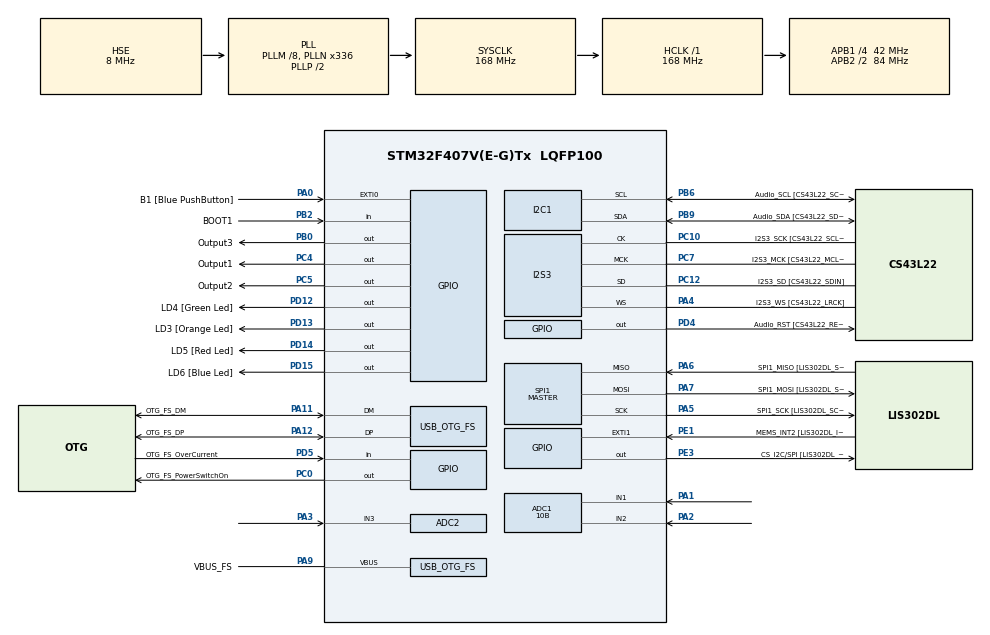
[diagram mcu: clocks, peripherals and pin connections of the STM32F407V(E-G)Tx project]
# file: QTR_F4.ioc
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ADC1.Channel-0\#ChannelRegularConversion=ADC_CHANNEL_1
ADC1.Channel-1\#ChannelRegularConversion=ADC_CHANNEL_2
ADC1.ContinuousConvMode=ENABLE
ADC1.EnableAnalogWatchDog=false
ADC1.NbrOfConversion=2
ADC1.NbrOfConversionFlag=1
ADC1.Rank-0\#ChannelRegularConversion=1
ADC1.Rank-1\#ChannelRegularConversion=2
ADC1.Resolution=ADC_RESOLUTION_10B
ADC1.SamplingTime-0\#ChannelRegularConversion=ADC_SAMPLETIME_56CYCLES
ADC1.SamplingTime-1\#ChannelRegularConversion=ADC_SAMPLETIME_56CYCLES
ADC1.master=1
ADC2.Channel-3\#ChannelRegularConversion=ADC_CHANNEL_3
ADC2.ContinuousConvMode=ENABLE
ADC2.NbrOfConversion=1
ADC2.NbrOfConversionFlag=1
ADC2.Rank-3\#ChannelRegularConversion=1
ADC2.Resolution=ADC_RESOLUTION_10B
ADC2.SamplingTime-3\#ChannelRegularConversion=ADC_SAMPLETIME_56CYCLES
Dma.ADC1.0.Direction=DMA_PERIPH_TO_MEMORY
Dma.ADC1.0.FIFOMode=DMA_FIFOMODE_DISABLE
Dma.ADC1.0.Instance=DMA2_Stream0
Dma.ADC1.0.MemDataAlignment=DMA_MDATAALIGN_HALFWORD
Dma.ADC1.0.MemInc=DMA_MINC_ENABLE
Dma.ADC1.0.Mode=DMA_CIRCULAR
Dma.ADC1.0.PeriphDataAlignment=DMA_PDATAALIGN_HALFWORD
Dma.ADC1.0.PeriphInc=DMA_PINC_DISABLE
Dma.ADC1.0.Priority=DMA_PRIORITY_VERY_HIGH
Dma.ADC2.1.Direction=DMA_PERIPH_TO_MEMORY
Dma.ADC2.1.FIFOMode=DMA_FIFOMODE_DISABLE
Dma.ADC2.1.Instance=DMA2_Stream2
Dma.ADC2.1.MemDataAlignment=DMA_MDATAALIGN_HALFWORD
Dma.ADC2.1.MemInc=DMA_MINC_ENABLE
Dma.ADC2.1.Mode=DMA_CIRCULAR
Dma.ADC2.1.PeriphDataAlignment=DMA_PDATAALIGN_HALFWORD
Dma.ADC2.1.PeriphInc=DMA_PINC_DISABLE
Dma.ADC2.1.Priority=DMA_PRIORITY_VERY_HIGH
Dma.Request0=ADC1
Dma.Request1=ADC2
I2S3.AudioFreq-Half_Duplex_Master=I2S_AUDIOFREQ_96K
I2S3.ErrorAudioFreq=-2.34 %
I2S3.ErrorAudioFreq-Half_Duplex_Master=0.8 %
I2S3.FullDuplexMode=I2S_FULLDUPLEXMODE_DISABLE
I2S3.Instance=SPI$Index
I2S3.RealAudioFreq=93.75 KHz
I2S3.RealAudioFreq-Half_Duplex_Master=96.774 KHz
I2S3.VirtualMode=I2S_MODE_MASTER
Mcu.Family=STM32F4
Mcu.Name=STM32F407V(E-G)Tx
Mcu.Package=LQFP100
NVIC.ADC_IRQn=true\:0\:0\:false\:false\:true\:true\:true\:true
NVIC.DMA2_Stream0_IRQn=true\:0\:0\:false\:false\:true\:false\:true\:true
NVIC.DMA2_Stream2_IRQn=true\:0\:0\:false\:false\:true\:false\:true\:true
NVIC.OTG_FS_IRQn=true\:0\:0\:false\:false\:true\:true\:true\:true
NVIC.PriorityGroup=NVIC_PRIORITYGROUP_0
PA0-WKUP.GPIO_Label=B1 [Blue PushButton]
PA0-WKUP.GPIO_ModeDefaultEXTI=GPIO_MODE_EVT_RISING
PA0-WKUP.GPIO_PuPd=GPIO_NOPULL
PA0-WKUP.Signal=GPXTI0
PA1.Signal=ADCx_IN1
PA10.GPIO_Label=OTG_FS_ID
PA10.GPIO_Mode=GPIO_MODE_AF_PP
PA10.GPIO_PuPd=GPIO_NOPULL
PA10.GPIO_Speed=GPIO_SPEED_FREQ_LOW
PA10.Signal=USB_OTG_FS_ID
PA11.GPIO_Label=OTG_FS_DM
PA11.GPIO_Mode=GPIO_MODE_AF_PP
PA11.GPIO_PuPd=GPIO_NOPULL
PA11.GPIO_Speed=GPIO_SPEED_FREQ_LOW
PA11.Mode=Host_Only
PA11.Signal=USB_OTG_FS_DM
PA12.GPIO_Label=OTG_FS_DP
PA12.GPIO_Mode=GPIO_MODE_AF_PP
PA12.GPIO_PuPd=GPIO_NOPULL
PA12.GPIO_Speed=GPIO_SPEED_FREQ_LOW
PA12.Mode=Host_Only
PA12.Signal=USB_OTG_FS_DP
PA13.GPIO_Label=SWDIO
PA13.Mode=Serial_Wire
PA13.Signal=SYS_JTMS-SWDIO
PA14.GPIO_Label=SWCLK
PA14.Mode=Serial_Wire
PA14.Signal=SYS_JTCK-SWCLK
PA2.Signal=ADCx_IN2
PA3.Signal=ADCx_IN3
PA4.GPIO_Label=I2S3_WS [CS43L22_LRCK]
PA4.GPIO_Mode=GPIO_MODE_AF_PP
PA4.GPIO_PuPd=GPIO_NOPULL
PA4.GPIO_Speed=GPIO_SPEED_FREQ_LOW
PA4.Mode=Half_Duplex_Master
PA4.Signal=I2S3_WS
PA5.GPIO_Label=SPI1_SCK [LIS302DL_SCL/SPC]
PA5.GPIO_Mode=GPIO_MODE_AF_PP
PA5.GPIO_PuPd=GPIO_NOPULL
PA5.GPIO_Speed=GPIO_SPEED_FREQ_LOW
PA5.Mode=Full_Duplex_Master
PA5.Signal=SPI1_SCK
PA6.GPIO_Label=SPI1_MISO [LIS302DL_SDO]
PA6.GPIO_Mode=GPIO_MODE_AF_PP
PA6.GPIO_PuPd=GPIO_NOPULL
PA6.GPIO_Speed=GPIO_SPEED_FREQ_LOW
PA6.Mode=Full_Duplex_Master
PA6.Signal=SPI1_MISO
PA7.GPIO_Label=SPI1_MOSI [LIS302DL_SDA/SDI/SDO]
PA7.GPIO_Mode=GPIO_MODE_AF_PP
PA7.GPIO_PuPd=GPIO_NOPULL
PA7.GPIO_Speed=GPIO_SPEED_FREQ_LOW
PA7.Mode=Full_Duplex_Master
PA7.Signal=SPI1_MOSI
PA9.GPIO_Label=VBUS_FS
PA9.GPIO_Mode=GPIO_MODE_INPUT
PA9.GPIO_PuPd=GPIO_NOPULL
PA9.Mode=Activate_VBUS
PA9.Signal=USB_OTG_FS_VBUS
PB0.GPIO_Label=Output3
PB0.Signal=GPIO_Output
PB10.GPIO_Label=CLK_IN [MP45DT02_CLK]
PB10.GPIO_Mode=GPIO_MODE_AF_PP
PB10.GPIO_PuPd=GPIO_NOPULL
PB10.GPIO_Speed=GPIO_SPEED_FREQ_LOW
PB10.Signal=I2S2_CK
PB2.GPIO_Label=BOOT1
PB2.GPIO_Mode=GPIO_MODE_INPUT
PB2.GPIO_PuPd=GPIO_NOPULL
PB2.Signal=GPIO_Input
PB3.GPIO_Label=SWO
PB3.Signal=SYS_JTDO-SWO
PB6.GPIO_Label=Audio_SCL [CS43L22_SCL]
PB6.GPIO_Mode=GPIO_MODE_AF_OD
PB6.GPIO_Pu=GPIO_PULLUP
PB6.GPIO_PuPd=GPIO_NOPULL
PB6.GPIO_Speed=GPIO_SPEED_FREQ_LOW
PB6.Mode=I2C
PB6.Signal=I2C1_SCL
PB9.GPIO_Label=Audio_SDA [CS43L22_SDA]
PB9.GPIO_Mode=GPIO_MODE_AF_OD
PB9.GPIO_Pu=GPIO_PULLUP
PB9.GPIO_PuPd=GPIO_NOPULL
PB9.GPIO_Speed=GPIO_SPEED_FREQ_LOW
PB9.Mode=I2C
PB9.Signal=I2C1_SDA
PC0.GPIO_Label=OTG_FS_PowerSwitchOn
PC0.GPIO_PuPd=GPIO_NOPULL
PC0.GPIO_Speed=GPIO_SPEED_FREQ_LOW
PC0.PinState=GPIO_PIN_SET
PC0.Signal=GPIO_Output
PC10.GPIO_Label=I2S3_SCK [CS43L22_SCLK]
PC10.GPIO_Mode=GPIO_MODE_AF_PP
PC10.GPIO_PuPd=GPIO_NOPULL
PC10.GPIO_Speed=GPIO_SPEED_FREQ_LOW
PC10.Mode=Half_Duplex_Master
PC10.Signal=I2S3_CK
PC12.GPIO_Label=I2S3_SD [CS43L22_SDIN]
PC12.GPIO_Mode=GPIO_MODE_AF_PP
PC12.GPIO_PuPd=GPIO_NOPULL
PC12.GPIO_Speed=GPIO_SPEED_FREQ_LOW
PC12.Mode=Half_Duplex_Master
PC12.Signal=I2S3_SD
PC14-OSC32_IN.GPIO_Label=PC14-OSC32_IN
PC14-OSC32_IN.Mode=LSE-External-Oscillator
PC14-OSC32_IN.Signal=RCC_OSC32_IN
PC15-OSC32_OUT.GPIO_Label=PC15-OSC32_OUT
PC15-OSC32_OUT.Mode=LSE-External-Oscillator
PC15-OSC32_OUT.Signal=RCC_OSC32_OUT
PC3.GPIO_Label=PDM_OUT [MP45DT02_DOUT]
PC3.GPIO_Mode=GPIO_MODE_AF_PP
PC3.GPIO_PuPd=GPIO_NOPULL
PC3.GPIO_Speed=GPIO_SPEED_FREQ_LOW
PC3.Signal=I2S2_SD
PC4.GPIO_Label=Output1
PC4.Signal=GPIO_Output
PC5.GPIO_Label=Output2
PC5.Signal=GPIO_Output
PC7.GPIO_Label=I2S3_MCK [CS43L22_MCLK]
PC7.GPIO_Mode=GPIO_MODE_AF_PP
PC7.GPIO_PuPd=GPIO_NOPULL
PC7.GPIO_Speed=GPIO_SPEED_FREQ_LOW
PC7.Mode=Master_Clock_Activated
PC7.Signal=I2S3_MCK
PD12.GPIO_Label=LD4 [Green Led]
PD12.GPIO_PuPd=GPIO_NOPULL
PD12.GPIO_Speed=GPIO_SPEED_FREQ_LOW
PD12.Signal=GPIO_Output
PD13.GPIO_Label=LD3 [Orange Led]
PD13.GPIO_PuPd=GPIO_NOPULL
PD13.GPIO_Speed=GPIO_SPEED_FREQ_LOW
PD13.Signal=GPIO_Output
PD14.GPIO_Label=LD5 [Red Led]
PD14.GPIO_PuPd=GPIO_NOPULL
PD14.GPIO_Speed=GPIO_SPEED_FREQ_LOW
PD14.Signal=GPIO_Output
PD15.GPIO_Label=LD6 [Blue Led]
PD15.GPIO_PuPd=GPIO_NOPULL
PD15.GPIO_Speed=GPIO_SPEED_FREQ_LOW
PD15.Signal=GPIO_Output
PD4.GPIO_Label=Audio_RST [CS43L22_RESET]
PD4.GPIO_PuPd=GPIO_NOPULL
PD4.GPIO_Speed=GPIO_SPEED_FREQ_LOW
PD4.Signal=GPIO_Output
PD5.GPIO_Label=OTG_FS_OverCurrent
PD5.GPIO_Mode=GPIO_MODE_INPUT
PD5.GPIO_PuPd=GPIO_NOPULL
PD5.Signal=GPIO_Input
PE1.GPIO_Label=MEMS_INT2 [LIS302DL_INT2]
PE1.GPIO_ModeDefaultEXTI=GPIO_MODE_EVT_RISING
PE1.GPIO_PuPd=GPIO_NOPULL
PE1.Signal=GPXTI1
PE3.GPIO_Label=CS_I2C/SPI [LIS302DL_CS_I2C/SPI]
PE3.GPIO_PuPd=GPIO_NOPULL
PE3.GPIO_Speed=GPIO_SPEED_FREQ_LOW
PE3.Signal=GPIO_Output
PH0-OSC_IN.GPIO_Label=PH0-OSC_IN
PH0-OSC_IN.Mode=HSE-External-Oscillator
PH0-OSC_IN.Signal=RCC_OSC_IN
PH1-OSC_OUT.GPIO_Label=PH1-OSC_OUT
PH1-OSC_OUT.Mode=HSE-External-Oscillator
PH1-OSC_OUT.Signal=RCC_OSC_OUT
ProjectManager.HeapSize=0x200
ProjectManager.StackSize=0x400
ProjectManager.TargetToolchain=STM32CubeIDE
RCC.48MHZClocksFreq_Value=48000000
RCC.AHBFreq_Value=168000000
RCC.APB1CLKDivider=RCC_HCLK_DIV4
RCC.APB1Freq_Value=42000000
RCC.APB1TimFreq_Value=84000000
RCC.APB2CLKDivider=RCC_HCLK_DIV2
RCC.APB2Freq_Value=84000000
RCC.APB2TimFreq_Value=168000000
RCC.CortexFreq_Value=168000000
RCC.HCLKFreq_Value=168000000
RCC.HSE_VALUE=8000000
RCC.HSI_VALUE=16000000
RCC.PLLM=8
RCC.PLLN=336
RCC.PLLQ=7
RCC.SYSCLKFreq_VALUE=168000000
RCC.SYSCLKSource=RCC_SYSCLKSOURCE_PLLCLK
RCC.VCOOutputFreq_Value=336000000
SH.ADCx_IN1.0=ADC1_IN1,IN1
SH.ADCx_IN2.0=ADC1_IN2,IN2
SH.ADCx_IN3.0=ADC2_IN3,IN3
SPI1.BaudRatePrescaler-Full_Duplex_Master=SPI_BAUDRATEPRESCALER_2
SPI1.CalculateBaudRate-Full_Duplex_Master=42.0 MBits/s
SPI1.Direction=SPI_DIRECTION_2LINES
SPI1.Mode=SPI_MODE_MASTER
SPI1.Mode-Full_Duplex_Master=SPI_MODE_MASTER
SPI1.VirtualType=VM_MASTER
USB_HOST.BSP.number=1
USB_HOST.USBH_HandleTypeDef-CDC_FS=hUsbHostFS
USB_HOST.VirtualModeFS=Cdc
USB_HOST0.BSP.STBoard=false
USB_HOST0.BSP.api=Unknown
USB_HOST0.BSP.instance=PC0
USB_HOST0.BSP.ip=GPIO
USB_HOST0.BSP.mode=Output
USB_HOST0.BSP.name=Drive_VBUS_FS
USB_HOST0.BSP.solution=PC0
USB_OTG_FS.VirtualMode=Host_Only
USB_OTG_FS.phy_itface=HCD_PHY_EMBEDDED
VP_USB_HOST_VS_USB_HOST_CDC_FS.Mode=CDC_FS
board=STM32F407G-DISC1

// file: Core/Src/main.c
/* USER CODE BEGIN Header */
/**
  ******************************************************************************
  * @file           : main.c
  * @brief          : Main program body
  ******************************************************************************
  * @attention
  *
  * Copyright (c) 2023 STMicroelectronics.
  * All rights reserved.
  *
  * This software is licensed under terms that can be found in the LICENSE file
  * in the root directory of this software component.
  * If no LICENSE file comes with this software, it is provided AS-IS.
  *
  ******************************************************************************
  */
/* USER CODE END Header */
#include "main.h"
#include "usb_host.h"

/* USER CODE BEGIN PTD */
uint16_t adc_value;
/* USER CODE END PTD */

ADC_HandleTypeDef hadc1;
ADC_HandleTypeDef hadc2;
DMA_HandleTypeDef hdma_adc1;
DMA_HandleTypeDef hdma_adc2;

I2C_HandleTypeDef hi2c1;

I2S_HandleTypeDef hi2s3;

SPI_HandleTypeDef hspi1;

/* USER CODE BEGIN PV */
uint32_t adc1_value[2];
uint32_t adc2_value;
int count = 0;
/* USER CODE END PV */

void SystemClock_Config(void);
static void MX_GPIO_Init(void);
static void MX_DMA_Init(void);
static void MX_I2C1_Init(void);
static void MX_I2S3_Init(void);
static void MX_SPI1_Init(void);
static void MX_ADC1_Init(void);
static void MX_ADC2_Init(void);
void MX_USB_HOST_Process(void);

/* USER CODE BEGIN 0 */
void Read_ADC(ADC_HandleTypeDef *hadc)
{
    HAL_ADC_Start(hadc);

    if (HAL_ADC_PollForConversion(hadc, 100000) == HAL_OK)
        adc_value = HAL_ADC_GetValue(hadc);

    HAL_ADC_Stop(hadc);
}
void HAL_ADC_ConvCpltCallback(ADC_HandleTypeDef* hadc )
{
	if(__HAL_ADC_GET_FLAG(&hadc1,ADC_FLAG_EOC) != RESET)
	{
		adc1_value[count] = HAL_ADC_GetValue(&hadc1);
		count++;
		/*
		 *    count = 0 => channel 1
		 *    count = 1 => channel 2
		 */
		if(count == 2)
			count = 0;

	}
	if(__HAL_ADC_GET_FLAG(&hadc2,ADC_FLAG_EOC) != RESET)
	{
		adc2_value = HAL_ADC_GetValue(&hadc2);
	}
}
/* USER CODE END 0 */

int main(void)
{

  /* MCU Configuration--------------------------------------------------------*/

  /* Reset of all peripherals, Initializes the Flash interface and the Systick. */
  HAL_Init();

  /* Configure the system clock */
  SystemClock_Config();

  /* Initialize all configured peripherals */
  MX_GPIO_Init();
  MX_DMA_Init();
  MX_I2C1_Init();
  MX_I2S3_Init();
  MX_SPI1_Init();
  MX_USB_HOST_Init();
  MX_ADC1_Init();
  MX_ADC2_Init();
  /* USER CODE BEGIN 2 */
  HAL_ADC_Start_IT(&hadc1);
  HAL_ADC_Start_IT(&hadc2);
  /* USER CODE END 2 */

  /* Infinite loop */
  while (1)
  {
    MX_USB_HOST_Process();

    /* USER CODE BEGIN 3 */
	  /*Read_ADC(&hadc2);
	  Read_ADC(&hadc2);
	  Read_ADC(&hadc3);
	  Read_ADC(&hadc9);
	  Read_ADC(&hadc11);
	  Read_ADC(&hadc12);*/

  }
  /* USER CODE END 3 */
}

void SystemClock_Config(void)
{
  RCC_OscInitTypeDef RCC_OscInitStruct = {0};
  RCC_ClkInitTypeDef RCC_ClkInitStruct = {0};

  /** Configure the main internal regulator output voltage
  */
  __HAL_RCC_PWR_CLK_ENABLE();
  __HAL_PWR_VOLTAGESCALING_CONFIG(PWR_REGULATOR_VOLTAGE_SCALE1);

  /** Initializes the RCC Oscillators according to the specified parameters
  * in the RCC_OscInitTypeDef structure.
  */
  RCC_OscInitStruct.OscillatorType = RCC_OSCILLATORTYPE_HSE;
  RCC_OscInitStruct.HSEState = RCC_HSE_ON;
  RCC_OscInitStruct.PLL.PLLState = RCC_PLL_ON;
  RCC_OscInitStruct.PLL.PLLSource = RCC_PLLSOURCE_HSE;
  RCC_OscInitStruct.PLL.PLLM = 8;
  RCC_OscInitStruct.PLL.PLLN = 336;
  RCC_OscInitStruct.PLL.PLLP = RCC_PLLP_DIV2;
  RCC_OscInitStruct.PLL.PLLQ = 7;
  if (HAL_RCC_OscConfig(&RCC_OscInitStruct) != HAL_OK)
  {
    Error_Handler();
  }

  /** Initializes the CPU, AHB and APB buses clocks
  */
  RCC_ClkInitStruct.ClockType = RCC_CLOCKTYPE_HCLK|RCC_CLOCKTYPE_SYSCLK
                              |RCC_CLOCKTYPE_PCLK1|RCC_CLOCKTYPE_PCLK2;
  RCC_ClkInitStruct.SYSCLKSource = RCC_SYSCLKSOURCE_PLLCLK;
  RCC_ClkInitStruct.AHBCLKDivider = RCC_SYSCLK_DIV1;
  RCC_ClkInitStruct.APB1CLKDivider = RCC_HCLK_DIV4;
  RCC_ClkInitStruct.APB2CLKDivider = RCC_HCLK_DIV2;

  if (HAL_RCC_ClockConfig(&RCC_ClkInitStruct, FLASH_LATENCY_5) != HAL_OK)
  {
    Error_Handler();
  }
}

static void MX_ADC1_Init(void)
{

  ADC_ChannelConfTypeDef sConfig = {0};

  /** Configure the global features of the ADC (Clock, Resolution, Data Alignment and number of conversion)
  */
  hadc1.Instance = ADC1;
  hadc1.Init.ClockPrescaler = ADC_CLOCK_SYNC_PCLK_DIV4;
  hadc1.Init.Resolution = ADC_RESOLUTION_10B;
  hadc1.Init.ScanConvMode = ENABLE;
  hadc1.Init.ContinuousConvMode = ENABLE;
  hadc1.Init.DiscontinuousConvMode = DISABLE;
  hadc1.Init.ExternalTrigConvEdge = ADC_EXTERNALTRIGCONVEDGE_NONE;
  hadc1.Init.ExternalTrigConv = ADC_SOFTWARE_START;
  hadc1.Init.DataAlign = ADC_DATAALIGN_RIGHT;
  hadc1.Init.NbrOfConversion = 2;
  hadc1.Init.DMAContinuousRequests = DISABLE;
  hadc1.Init.EOCSelection = ADC_EOC_SINGLE_CONV;
  if (HAL_ADC_Init(&hadc1) != HAL_OK)
  {
    Error_Handler();
  }

  /** Configure for the selected ADC regular channel its corresponding rank in the sequencer and its sample time.
  */
  sConfig.Channel = ADC_CHANNEL_1;
  sConfig.Rank = 1;
  sConfig.SamplingTime = ADC_SAMPLETIME_56CYCLES;
  if (HAL_ADC_ConfigChannel(&hadc1, &sConfig) != HAL_OK)
  {
    Error_Handler();
  }

  /** Configure for the selected ADC regular channel its corresponding rank in the sequencer and its sample time.
  */
  sConfig.Channel = ADC_CHANNEL_2;
  sConfig.Rank = 2;
  if (HAL_ADC_ConfigChannel(&hadc1, &sConfig) != HAL_OK)
  {
    Error_Handler();
  }

}

static void MX_ADC2_Init(void)
{

  ADC_ChannelConfTypeDef sConfig = {0};

  /** Configure the global features of the ADC (Clock, Resolution, Data Alignment and number of conversion)
  */
  hadc2.Instance = ADC2;
  hadc2.Init.ClockPrescaler = ADC_CLOCK_SYNC_PCLK_DIV4;
  hadc2.Init.Resolution = ADC_RESOLUTION_10B;
  hadc2.Init.ScanConvMode = DISABLE;
  hadc2.Init.ContinuousConvMode = ENABLE;
  hadc2.Init.DiscontinuousConvMode = DISABLE;
  hadc2.Init.ExternalTrigConvEdge = ADC_EXTERNALTRIGCONVEDGE_NONE;
  hadc2.Init.ExternalTrigConv = ADC_SOFTWARE_START;
  hadc2.Init.DataAlign = ADC_DATAALIGN_RIGHT;
  hadc2.Init.NbrOfConversion = 1;
  hadc2.Init.DMAContinuousRequests = DISABLE;
  hadc2.Init.EOCSelection = ADC_EOC_SINGLE_CONV;
  if (HAL_ADC_Init(&hadc2) != HAL_OK)
  {
    Error_Handler();
  }

  /** Configure for the selected ADC regular channel its corresponding rank in the sequencer and its sample time.
  */
  sConfig.Channel = ADC_CHANNEL_3;
  sConfig.Rank = 1;
  sConfig.SamplingTime = ADC_SAMPLETIME_56CYCLES;
  if (HAL_ADC_ConfigChannel(&hadc2, &sConfig) != HAL_OK)
  {
    Error_Handler();
  }

}

static void MX_I2C1_Init(void)
{

  hi2c1.Instance = I2C1;
  hi2c1.Init.ClockSpeed = 100000;
  hi2c1.Init.DutyCycle = I2C_DUTYCYCLE_2;
  hi2c1.Init.OwnAddress1 = 0;
  hi2c1.Init.AddressingMode = I2C_ADDRESSINGMODE_7BIT;
  hi2c1.Init.DualAddressMode = I2C_DUALADDRESS_DISABLE;
  hi2c1.Init.OwnAddress2 = 0;
  hi2c1.Init.GeneralCallMode = I2C_GENERALCALL_DISABLE;
  hi2c1.Init.NoStretchMode = I2C_NOSTRETCH_DISABLE;
  if (HAL_I2C_Init(&hi2c1) != HAL_OK)
  {
    Error_Handler();
  }

}

static void MX_I2S3_Init(void)
{

  hi2s3.Instance = SPI3;
  hi2s3.Init.Mode = I2S_MODE_MASTER_TX;
  hi2s3.Init.Standard = I2S_STANDARD_PHILIPS;
  hi2s3.Init.DataFormat = I2S_DATAFORMAT_16B;
  hi2s3.Init.MCLKOutput = I2S_MCLKOUTPUT_ENABLE;
  hi2s3.Init.AudioFreq = I2S_AUDIOFREQ_96K;
  hi2s3.Init.CPOL = I2S_CPOL_LOW;
  hi2s3.Init.ClockSource = I2S_CLOCK_PLL;
  hi2s3.Init.FullDuplexMode = I2S_FULLDUPLEXMODE_DISABLE;
  if (HAL_I2S_Init(&hi2s3) != HAL_OK)
  {
    Error_Handler();
  }

}

static void MX_SPI1_Init(void)
{

  /* SPI1 parameter configuration*/
  hspi1.Instance = SPI1;
  hspi1.Init.Mode = SPI_MODE_MASTER;
  hspi1.Init.Direction = SPI_DIRECTION_2LINES;
  hspi1.Init.DataSize = SPI_DATASIZE_8BIT;
  hspi1.Init.CLKPolarity = SPI_POLARITY_LOW;
  hspi1.Init.CLKPhase = SPI_PHASE_1EDGE;
  hspi1.Init.NSS = SPI_NSS_SOFT;
  hspi1.Init.BaudRatePrescaler = SPI_BAUDRATEPRESCALER_2;
  hspi1.Init.FirstBit = SPI_FIRSTBIT_MSB;
  hspi1.Init.TIMode = SPI_TIMODE_DISABLE;
  hspi1.Init.CRCCalculation = SPI_CRCCALCULATION_DISABLE;
  hspi1.Init.CRCPolynomial = 10;
  if (HAL_SPI_Init(&hspi1) != HAL_OK)
  {
    Error_Handler();
  }

}

static void MX_DMA_Init(void)
{

  /* DMA controller clock enable */
  __HAL_RCC_DMA2_CLK_ENABLE();

  /* DMA interrupt init */
  /* DMA2_Stream0_IRQn interrupt configuration */
  HAL_NVIC_SetPriority(DMA2_Stream0_IRQn, 0, 0);
  HAL_NVIC_EnableIRQ(DMA2_Stream0_IRQn);
  /* DMA2_Stream2_IRQn interrupt configuration */
  HAL_NVIC_SetPriority(DMA2_Stream2_IRQn, 0, 0);
  HAL_NVIC_EnableIRQ(DMA2_Stream2_IRQn);

}

static void MX_GPIO_Init(void)
{
  GPIO_InitTypeDef GPIO_InitStruct = {0};

  /* GPIO Ports Clock Enable */
  __HAL_RCC_GPIOE_CLK_ENABLE();
  __HAL_RCC_GPIOC_CLK_ENABLE();
  __HAL_RCC_GPIOH_CLK_ENABLE();
  __HAL_RCC_GPIOA_CLK_ENABLE();
  __HAL_RCC_GPIOB_CLK_ENABLE();
  __HAL_RCC_GPIOD_CLK_ENABLE();

  /*Configure GPIO pin Output Level */
  HAL_GPIO_WritePin(CS_I2C_SPI_GPIO_Port, CS_I2C_SPI_Pin, GPIO_PIN_RESET);

  /*Configure GPIO pin Output Level */
  HAL_GPIO_WritePin(OTG_FS_PowerSwitchOn_GPIO_Port, OTG_FS_PowerSwitchOn_Pin, GPIO_PIN_SET);

  /*Configure GPIO pin Output Level */
  HAL_GPIO_WritePin(GPIOC, Output1_Pin|Output2_Pin, GPIO_PIN_RESET);

  /*Configure GPIO pin Output Level */
  HAL_GPIO_WritePin(Output3_GPIO_Port, Output3_Pin, GPIO_PIN_RESET);

  /*Configure GPIO pin Output Level */
  HAL_GPIO_WritePin(GPIOD, LD4_Pin|LD3_Pin|LD5_Pin|LD6_Pin
                          |Audio_RST_Pin, GPIO_PIN_RESET);

  /*Configure GPIO pin : CS_I2C_SPI_Pin */
  GPIO_InitStruct.Pin = CS_I2C_SPI_Pin;
  GPIO_InitStruct.Mode = GPIO_MODE_OUTPUT_PP;
  GPIO_InitStruct.Pull = GPIO_NOPULL;
  GPIO_InitStruct.Speed = GPIO_SPEED_FREQ_LOW;
  HAL_GPIO_Init(CS_I2C_SPI_GPIO_Port, &GPIO_InitStruct);

  /*Configure GPIO pins : OTG_FS_PowerSwitchOn_Pin Output1_Pin Output2_Pin */
  GPIO_InitStruct.Pin = OTG_FS_PowerSwitchOn_Pin|Output1_Pin|Output2_Pin;
  GPIO_InitStruct.Mode = GPIO_MODE_OUTPUT_PP;
  GPIO_InitStruct.Pull = GPIO_NOPULL;
  GPIO_InitStruct.Speed = GPIO_SPEED_FREQ_LOW;
  HAL_GPIO_Init(GPIOC, &GPIO_InitStruct);

  /*Configure GPIO pin : PDM_OUT_Pin */
  GPIO_InitStruct.Pin = PDM_OUT_Pin;
  GPIO_InitStruct.Mode = GPIO_MODE_AF_PP;
  GPIO_InitStruct.Pull = GPIO_NOPULL;
  GPIO_InitStruct.Speed = GPIO_SPEED_FREQ_LOW;
  GPIO_InitStruct.Alternate = GPIO_AF5_SPI2;
  HAL_GPIO_Init(PDM_OUT_GPIO_Port, &GPIO_InitStruct);

  /*Configure GPIO pin : B1_Pin */
  GPIO_InitStruct.Pin = B1_Pin;
  GPIO_InitStruct.Mode = GPIO_MODE_EVT_RISING;
  GPIO_InitStruct.Pull = GPIO_NOPULL;
  HAL_GPIO_Init(B1_GPIO_Port, &GPIO_InitStruct);

  /*Configure GPIO pin : Output3_Pin */
  GPIO_InitStruct.Pin = Output3_Pin;
  GPIO_InitStruct.Mode = GPIO_MODE_OUTPUT_PP;
  GPIO_InitStruct.Pull = GPIO_NOPULL;
  GPIO_InitStruct.Speed = GPIO_SPEED_FREQ_LOW;
  HAL_GPIO_Init(Output3_GPIO_Port, &GPIO_InitStruct);

  /*Configure GPIO pin : BOOT1_Pin */
  GPIO_InitStruct.Pin = BOOT1_Pin;
  GPIO_InitStruct.Mode = GPIO_MODE_INPUT;
  GPIO_InitStruct.Pull = GPIO_NOPULL;
  HAL_GPIO_Init(BOOT1_GPIO_Port, &GPIO_InitStruct);

  /*Configure GPIO pin : CLK_IN_Pin */
  GPIO_InitStruct.Pin = CLK_IN_Pin;
  GPIO_InitStruct.Mode = GPIO_MODE_AF_PP;
  GPIO_InitStruct.Pull = GPIO_NOPULL;
  GPIO_InitStruct.Speed = GPIO_SPEED_FREQ_LOW;
  GPIO_InitStruct.Alternate = GPIO_AF5_SPI2;
  HAL_GPIO_Init(CLK_IN_GPIO_Port, &GPIO_InitStruct);

  /*Configure GPIO pins : LD4_Pin LD3_Pin LD5_Pin LD6_Pin
                           Audio_RST_Pin */
  GPIO_InitStruct.Pin = LD4_Pin|LD3_Pin|LD5_Pin|LD6_Pin
                          |Audio_RST_Pin;
  GPIO_InitStruct.Mode = GPIO_MODE_OUTPUT_PP;
  GPIO_InitStruct.Pull = GPIO_NOPULL;
  GPIO_InitStruct.Speed = GPIO_SPEED_FREQ_LOW;
  HAL_GPIO_Init(GPIOD, &GPIO_InitStruct);

  /*Configure GPIO pin : OTG_FS_OverCurrent_Pin */
  GPIO_InitStruct.Pin = OTG_FS_OverCurrent_Pin;
  GPIO_InitStruct.Mode = GPIO_MODE_INPUT;
  GPIO_InitStruct.Pull = GPIO_NOPULL;
  HAL_GPIO_Init(OTG_FS_OverCurrent_GPIO_Port, &GPIO_InitStruct);

  /*Configure GPIO pin : MEMS_INT2_Pin */
  GPIO_InitStruct.Pin = MEMS_INT2_Pin;
  GPIO_InitStruct.Mode = GPIO_MODE_EVT_RISING;
  GPIO_InitStruct.Pull = GPIO_NOPULL;
  HAL_GPIO_Init(MEMS_INT2_GPIO_Port, &GPIO_InitStruct);

}

void Error_Handler(void)
{
  __disable_irq();
  while (1)
  {
  }
}
